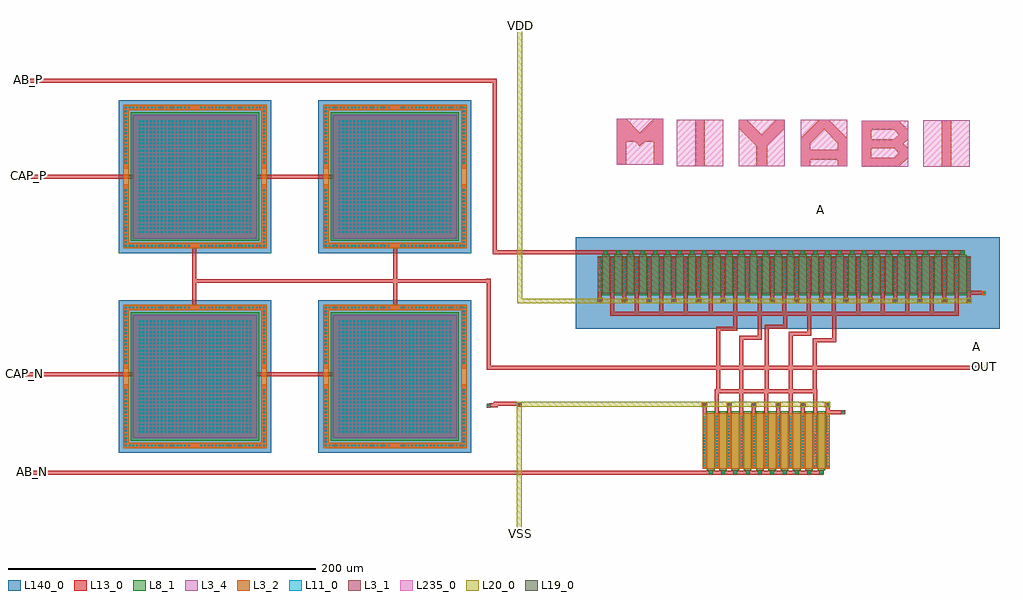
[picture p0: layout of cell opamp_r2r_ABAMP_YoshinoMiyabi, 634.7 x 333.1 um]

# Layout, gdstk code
from math import pi, radians
import gdstk
lib = gdstk.Library(unit=1e-6, precision=1e-07)
def R(c, l, rs):  # rectangles x0, y0, x1, y1
    for r in rs: c.add(gdstk.rectangle(r[:2], r[2:], *l))
def A(c, l, x, y, w, h, nx, ny, dx, dy):  # array of equal rectangles
    R(c, l, [(x+i*dx, y+j*dy, x+i*dx+w, y+j*dy+h) for i in range(nx) for j in range(ny)])
def P(c, l, *ps):  # polygons
    for p in ps: c.add(gdstk.Polygon(p, *l))
L3_1 = (3, 1)
L3_2 = (3, 2)
L3_4 = (3, 4)
L8_1 = (8, 1)
L11_0 = (11, 0)
L13_0 = (13, 0)
L19_0 = (19, 0)
L20_0 = (20, 0)
L140_0 = (140, 0)
L235_0 = (235, 0)

fet_p = lib.new_cell('fet_p')
R(fet_p, L3_1, [(-121.3,-12,121.3,12)])
A(fet_p, L11_0, -120.5, -10.5, 1, 1, 31, 11, 8, 2)
A(fet_p, L13_0, -121.3, -11.3, 2.6, 22.6, 31, 1, 8, 0)
fet_p.add(gdstk.FlexPath([(4,-13.2),(4,13.2)], 5, ends="flush", simple_path=True, layer=8, datatype=1))  # L8_1
fet_p.add(gdstk.FlexPath([(-4,-13.2),(-4,13.2)], 5, ends="flush", simple_path=True, layer=8, datatype=1))  # L8_1
fet_p.add(gdstk.FlexPath([(12,-13.2),(12,13.2)], 5, ends="flush", simple_path=True, layer=8, datatype=1))  # L8_1
fet_p.add(gdstk.FlexPath([(-12,-13.2),(-12,13.2)], 5, ends="flush", simple_path=True, layer=8, datatype=1))  # L8_1
fet_p.add(gdstk.FlexPath([(20,-13.2),(20,13.2)], 5, ends="flush", simple_path=True, layer=8, datatype=1))  # L8_1
fet_p.add(gdstk.FlexPath([(-20,-13.2),(-20,13.2)], 5, ends="flush", simple_path=True, layer=8, datatype=1))  # L8_1
fet_p.add(gdstk.FlexPath([(28,-13.2),(28,13.2)], 5, ends="flush", simple_path=True, layer=8, datatype=1))  # L8_1
fet_p.add(gdstk.FlexPath([(-28,-13.2),(-28,13.2)], 5, ends="flush", simple_path=True, layer=8, datatype=1))  # L8_1
fet_p.add(gdstk.FlexPath([(36,-13.2),(36,13.2)], 5, ends="flush", simple_path=True, layer=8, datatype=1))  # L8_1
fet_p.add(gdstk.FlexPath([(-36,-13.2),(-36,13.2)], 5, ends="flush", simple_path=True, layer=8, datatype=1))  # L8_1
fet_p.add(gdstk.FlexPath([(44,-13.2),(44,13.2)], 5, ends="flush", simple_path=True, layer=8, datatype=1))  # L8_1
fet_p.add(gdstk.FlexPath([(-44,-13.2),(-44,13.2)], 5, ends="flush", simple_path=True, layer=8, datatype=1))  # L8_1
fet_p.add(gdstk.FlexPath([(52,-13.2),(52,13.2)], 5, ends="flush", simple_path=True, layer=8, datatype=1))  # L8_1
fet_p.add(gdstk.FlexPath([(-52,-13.2),(-52,13.2)], 5, ends="flush", simple_path=True, layer=8, datatype=1))  # L8_1
fet_p.add(gdstk.FlexPath([(60,-13.2),(60,13.2)], 5, ends="flush", simple_path=True, layer=8, datatype=1))  # L8_1
fet_p.add(gdstk.FlexPath([(-60,-13.2),(-60,13.2)], 5, ends="flush", simple_path=True, layer=8, datatype=1))  # L8_1
fet_p.add(gdstk.FlexPath([(68,-13.2),(68,13.2)], 5, ends="flush", simple_path=True, layer=8, datatype=1))  # L8_1
fet_p.add(gdstk.FlexPath([(-68,-13.2),(-68,13.2)], 5, ends="flush", simple_path=True, layer=8, datatype=1))  # L8_1
fet_p.add(gdstk.FlexPath([(76,-13.2),(76,13.2)], 5, ends="flush", simple_path=True, layer=8, datatype=1))  # L8_1
fet_p.add(gdstk.FlexPath([(-76,-13.2),(-76,13.2)], 5, ends="flush", simple_path=True, layer=8, datatype=1))  # L8_1
fet_p.add(gdstk.FlexPath([(84,-13.2),(84,13.2)], 5, ends="flush", simple_path=True, layer=8, datatype=1))  # L8_1
fet_p.add(gdstk.FlexPath([(-84,-13.2),(-84,13.2)], 5, ends="flush", simple_path=True, layer=8, datatype=1))  # L8_1
fet_p.add(gdstk.FlexPath([(92,-13.2),(92,13.2)], 5, ends="flush", simple_path=True, layer=8, datatype=1))  # L8_1
fet_p.add(gdstk.FlexPath([(-92,-13.2),(-92,13.2)], 5, ends="flush", simple_path=True, layer=8, datatype=1))  # L8_1
fet_p.add(gdstk.FlexPath([(100,-13.2),(100,13.2)], 5, ends="flush", simple_path=True, layer=8, datatype=1))  # L8_1
fet_p.add(gdstk.FlexPath([(-100,-13.2),(-100,13.2)], 5, ends="flush", simple_path=True, layer=8, datatype=1))  # L8_1
fet_p.add(gdstk.FlexPath([(108,-13.2),(108,13.2)], 5, ends="flush", simple_path=True, layer=8, datatype=1))  # L8_1
fet_p.add(gdstk.FlexPath([(-108,-13.2),(-108,13.2)], 5, ends="flush", simple_path=True, layer=8, datatype=1))  # L8_1
fet_p.add(gdstk.FlexPath([(116,-13.2),(116,13.2)], 5, ends="flush", simple_path=True, layer=8, datatype=1))  # L8_1
fet_p.add(gdstk.FlexPath([(-116,-13.2),(-116,13.2)], 5, ends="flush", simple_path=True, layer=8, datatype=1))  # L8_1

fet_n = lib.new_cell('fet_n')
R(fet_n, L3_2, [(-41.3,-18,41.3,18)])
A(fet_n, L11_0, -40.5, -16.5, 1, 1, 11, 17, 8, 2)
A(fet_n, L13_0, -41.3, -17.3, 2.6, 34.6, 11, 1, 8, 0)
fet_n.add(gdstk.FlexPath([(4,-19.2),(4,19.2)], 5, ends="flush", simple_path=True, layer=8, datatype=1))  # L8_1
fet_n.add(gdstk.FlexPath([(-4,-19.2),(-4,19.2)], 5, ends="flush", simple_path=True, layer=8, datatype=1))  # L8_1
fet_n.add(gdstk.FlexPath([(12,-19.2),(12,19.2)], 5, ends="flush", simple_path=True, layer=8, datatype=1))  # L8_1
fet_n.add(gdstk.FlexPath([(-12,-19.2),(-12,19.2)], 5, ends="flush", simple_path=True, layer=8, datatype=1))  # L8_1
fet_n.add(gdstk.FlexPath([(20,-19.2),(20,19.2)], 5, ends="flush", simple_path=True, layer=8, datatype=1))  # L8_1
fet_n.add(gdstk.FlexPath([(-20,-19.2),(-20,19.2)], 5, ends="flush", simple_path=True, layer=8, datatype=1))  # L8_1
fet_n.add(gdstk.FlexPath([(28,-19.2),(28,19.2)], 5, ends="flush", simple_path=True, layer=8, datatype=1))  # L8_1
fet_n.add(gdstk.FlexPath([(-28,-19.2),(-28,19.2)], 5, ends="flush", simple_path=True, layer=8, datatype=1))  # L8_1
fet_n.add(gdstk.FlexPath([(36,-19.2),(36,19.2)], 5, ends="flush", simple_path=True, layer=8, datatype=1))  # L8_1
fet_n.add(gdstk.FlexPath([(-36,-19.2),(-36,19.2)], 5, ends="flush", simple_path=True, layer=8, datatype=1))  # L8_1

cont_g = lib.new_cell('cont_g')
R(cont_g, L8_1, [(-1.3,-1.3,1.3,1.3)])
R(cont_g, L11_0, [(-0.5,-0.5,0.5,0.5)])
R(cont_g, L13_0, [(-1.3,-1.3,1.3,1.3)])

via_1 = lib.new_cell('via_1')
R(via_1, L13_0, [(-1.7,-1.7,1.7,1.7)])
R(via_1, L19_0, [(-0.7,-0.7,0.7,0.7)])
R(via_1, L20_0, [(-1.7,-1.7,1.7,1.7)])

cont_p = lib.new_cell('cont_p')
R(cont_p, L3_1, [(-1.3,-1.3,1.3,1.3)])
R(cont_p, L11_0, [(-0.5,-0.5,0.5,0.5)])
R(cont_p, L13_0, [(-1.3,-1.3,1.3,1.3)])

cont_n = lib.new_cell('cont_n')
R(cont_n, L3_2, [(-1.3,-1.3,1.3,1.3)])
R(cont_n, L11_0, [(-0.5,-0.5,0.5,0.5)])
R(cont_n, L13_0, [(-1.3,-1.3,1.3,1.3)])

moscap = lib.new_cell('moscap')
P(moscap, L3_2, [(-46.7,-46.7),(-46.7,43.1),(-43.1,43.1),(-43.1,-43.1),(43.1,-43.1),(43.1,43.1),(-46.7,43.1),(-46.7,46.7),(46.7,46.7),(46.7,-46.7)])
R(moscap, L3_4, [(-40.3,-40.3,40.3,40.3)])
R(moscap, L8_1, [(-41.7,-41.7,41.7,41.7)])
A(moscap, L11_0, -45.5, -45.5, 1.2, 1.2, 1, 18, 0, 2.4)
A(moscap, L11_0, -45.5, -45.5, 1.2, 1.2, 16, 2, 2.4, 89.8)
A(moscap, L11_0, 8.3, -45.5, 1.2, 1.2, 16, 2, 2.4, 89.8)
A(moscap, L11_0, 44.3, -45.5, 1.2, 1.2, 1, 18, 0, 2.4)
A(moscap, L11_0, -36.6, -36.6, 1.2, 1.2, 31, 31, 2.4, 2.4)
A(moscap, L11_0, -45.5, 3.5, 1.2, 1.2, 1, 18, 0, 2.4)
A(moscap, L11_0, 44.3, 3.5, 1.2, 1.2, 1, 18, 0, 2.4)
R(moscap, L13_0, [(-40.3,-40.3,40.3,40.3)])
P(moscap, L13_0, [(-46.7,-46.7),(-46.7,46.7),(-5,46.7),(-5,43.1),(-43.1,43.1),(-43.1,-43.1),(-5,-43.1),(-5,-46.7)],
  [(5,-46.7),(5,-43.1),(43.1,-43.1),(43.1,43.1),(5,43.1),(5,46.7),(46.7,46.7),(46.7,-46.7)])
R(moscap, L140_0, [(-49.7,-49.7,49.7,49.7)])

c_m = lib.new_cell('M')
P(c_m, L13_0, [(0,0),(0,10),(2,10),(5,7),(8,10),(10,10),(10,0),(8,0),(8,5),(6,5),(5,4),(4,5),(2,5),(2,0)])
R(c_m, L235_0, [(0,0,10,10)])

c_i = lib.new_cell('I')
R(c_i, L13_0, [(4,0,6,10)])
R(c_i, L235_0, [(0,0,10,10)])

c_y = lib.new_cell('Y')
P(c_y, L13_0, [(3.8,0),(3.8,4.4),(0,8.2),(0,10),(1.8,10),(5,6.8),(8.2,10),(10,10),(10,8.2),(6.2,4.4),(6.2,0)])
R(c_y, L235_0, [(0,0,10,10)])

c_a = lib.new_cell('A')
P(c_a, L13_0, [(0,0),(0,6),(4,10),(6,10),(10,6),(10,0),(8,0),(8,5),(5,8),(2,5),(2,3.5),(8,3.5),(8,1.4),(2,1.4),(2,0)])
R(c_a, L235_0, [(0,0,10,10)])

c_b = lib.new_cell('B')
P(c_b, L13_0, [(0,0),(0,10),(8,10),(10,8),(10,6),(9,5),(10,4),(10,2),(8,0),(2,0),(2,2),(7,2),(8,3),(7,4),(2,4),(2,6),(7,6),(8,7),(7,8),(2,8),(2,0)])
R(c_b, L235_0, [(0,0,10,10)])

opamp_r2r_abamp_yoshinom = lib.new_cell('opamp_r2r_ABAMP_YoshinoMiyabi')
R(opamp_r2r_abamp_yoshinom, L140_0, [(6703.8,-2975.8,6979.4,-2916.5)])
opamp_r2r_abamp_yoshinom.add(gdstk.FlexPath([(6719.5,-2952),(6719.5,-2956.4),(6719.5,-2956.4),(6719.5,-2956.4),(6719.5,-2956.4)], 2.6, ends="flush", simple_path=True, layer=13, datatype=0))  # L13_0
opamp_r2r_abamp_yoshinom.add(gdstk.FlexPath([(6735.5,-2952),(6735.5,-2956.4),(6735.5,-2956.4),(6735.5,-2956.4),(6735.5,-2956.4)], 2.6, ends="flush", simple_path=True, layer=13, datatype=0))  # L13_0
opamp_r2r_abamp_yoshinom.add(gdstk.FlexPath([(6751.5,-2952),(6751.5,-2956.4),(6751.5,-2956.4),(6751.5,-2956.4),(6751.5,-2956.4)], 2.6, ends="flush", simple_path=True, layer=13, datatype=0))  # L13_0
opamp_r2r_abamp_yoshinom.add(gdstk.FlexPath([(6767.5,-2952),(6767.5,-2956.4),(6767.5,-2956.4),(6767.5,-2956.4),(6767.5,-2956.4)], 2.6, ends="flush", simple_path=True, layer=13, datatype=0))  # L13_0
opamp_r2r_abamp_yoshinom.add(gdstk.FlexPath([(6783.5,-2952),(6783.5,-2956.4),(6783.5,-2956.4),(6783.5,-2956.4),(6783.5,-2956.4)], 2.6, ends="flush", simple_path=True, layer=13, datatype=0))  # L13_0
opamp_r2r_abamp_yoshinom.add(gdstk.FlexPath([(6799.5,-2952),(6799.5,-2956.4),(6799.5,-2956.4),(6799.5,-2956.4),(6799.5,-2956.4)], 2.6, ends="flush", simple_path=True, layer=13, datatype=0))  # L13_0
opamp_r2r_abamp_yoshinom.add(gdstk.FlexPath([(6815.5,-2952),(6815.5,-2956.4),(6815.5,-2956.4),(6815.5,-2956.4),(6815.5,-2956.4)], 2.6, ends="flush", simple_path=True, layer=13, datatype=0))  # L13_0
opamp_r2r_abamp_yoshinom.add(gdstk.FlexPath([(6831.5,-2952),(6831.5,-2956.4),(6831.5,-2956.4),(6831.5,-2956.4),(6831.5,-2956.4)], 2.6, ends="flush", simple_path=True, layer=13, datatype=0))  # L13_0
opamp_r2r_abamp_yoshinom.add(gdstk.FlexPath([(6847.5,-2952),(6847.5,-2956.4),(6847.5,-2956.4),(6847.5,-2956.4),(6847.5,-2956.4)], 2.6, ends="flush", simple_path=True, layer=13, datatype=0))  # L13_0
opamp_r2r_abamp_yoshinom.add(gdstk.FlexPath([(6863.5,-2952),(6863.5,-2956.4),(6863.5,-2956.4),(6863.5,-2956.4),(6863.5,-2956.4)], 2.6, ends="flush", simple_path=True, layer=13, datatype=0))  # L13_0
opamp_r2r_abamp_yoshinom.add(gdstk.FlexPath([(6879.5,-2952),(6879.5,-2956.4),(6879.5,-2956.4),(6879.5,-2956.4),(6879.5,-2956.4)], 2.6, ends="flush", simple_path=True, layer=13, datatype=0))  # L13_0
opamp_r2r_abamp_yoshinom.add(gdstk.FlexPath([(6895.5,-2952),(6895.5,-2956.4),(6895.5,-2956.4),(6895.5,-2956.4),(6895.5,-2956.4)], 2.6, ends="flush", simple_path=True, layer=13, datatype=0))  # L13_0
opamp_r2r_abamp_yoshinom.add(gdstk.FlexPath([(6911.5,-2952),(6911.5,-2956.4),(6911.5,-2956.4),(6911.5,-2956.4),(6911.5,-2956.4)], 2.6, ends="flush", simple_path=True, layer=13, datatype=0))  # L13_0
opamp_r2r_abamp_yoshinom.add(gdstk.FlexPath([(6927.5,-2952),(6927.5,-2956.4),(6927.5,-2956.4),(6927.5,-2956.4),(6927.5,-2956.4)], 2.6, ends="flush", simple_path=True, layer=13, datatype=0))  # L13_0
opamp_r2r_abamp_yoshinom.add(gdstk.FlexPath([(6943.5,-2952),(6943.5,-2956.4),(6943.5,-2956.4),(6943.5,-2956.4),(6943.5,-2956.4)], 2.6, ends="flush", simple_path=True, layer=13, datatype=0))  # L13_0
opamp_r2r_abamp_yoshinom.add(gdstk.FlexPath([(6959.5,-2952),(6959.5,-2956.4),(6959.5,-2956.4),(6959.5,-2956.4),(6959.5,-2956.4)], 2.6, ends="flush", simple_path=True, layer=13, datatype=0))  # L13_0
opamp_r2r_abamp_yoshinom.add(gdstk.FlexPath([(6787.6,-3031.9),(6787.6,-3026.3)], 2.6, ends="flush", simple_path=True, layer=13, datatype=0))  # L13_0
opamp_r2r_abamp_yoshinom.add(gdstk.FlexPath([(6803.6,-3031.9),(6803.6,-3026.3)], 2.6, ends="flush", simple_path=True, layer=13, datatype=0))  # L13_0
opamp_r2r_abamp_yoshinom.add(gdstk.FlexPath([(6819.6,-3031.9),(6819.6,-3026.3)], 2.6, ends="flush", simple_path=True, layer=13, datatype=0))  # L13_0
opamp_r2r_abamp_yoshinom.add(gdstk.FlexPath([(6835.6,-3031.9),(6835.6,-3026.3)], 2.6, ends="flush", simple_path=True, layer=13, datatype=0))  # L13_0
opamp_r2r_abamp_yoshinom.add(gdstk.FlexPath([(6851.6,-3031.9),(6851.6,-3026.3)], 2.6, ends="flush", simple_path=True, layer=13, datatype=0))  # L13_0
opamp_r2r_abamp_yoshinom.add(gdstk.FlexPath([(6867.6,-3031.9),(6867.6,-3026.3)], 2.6, ends="flush", simple_path=True, layer=13, datatype=0))  # L13_0
opamp_r2r_abamp_yoshinom.add(gdstk.FlexPath([(6876.8,-3030.1),(6868.7,-3030.1)], 2.6, ends="flush", simple_path=True, layer=13, datatype=0))  # L13_0
opamp_r2r_abamp_yoshinom.add(gdstk.FlexPath([(6727.5,-2951.9),(6727.5,-2965.1),(6727.5,-2965.1),(6727.5,-2967.5)], 2.6, ends="flush", simple_path=True, layer=13, datatype=0))  # L13_0
opamp_r2r_abamp_yoshinom.add(gdstk.FlexPath([(6743.5,-2951.9),(6743.5,-2965.1),(6743.5,-2965.1),(6743.5,-2967.5)], 2.6, ends="flush", simple_path=True, layer=13, datatype=0))  # L13_0
opamp_r2r_abamp_yoshinom.add(gdstk.FlexPath([(6759.5,-2951.9),(6759.5,-2965.1),(6759.5,-2965.1),(6759.5,-2967.5)], 2.6, ends="flush", simple_path=True, layer=13, datatype=0))  # L13_0
opamp_r2r_abamp_yoshinom.add(gdstk.FlexPath([(6775.5,-2951.9),(6775.5,-2965.1),(6775.5,-2965.1),(6775.5,-2967.5)], 2.6, ends="flush", simple_path=True, layer=13, datatype=0))  # L13_0
opamp_r2r_abamp_yoshinom.add(gdstk.FlexPath([(6791.5,-2951.9),(6791.5,-2965.1),(6791.5,-2965.1),(6791.5,-2967.5)], 2.6, ends="flush", simple_path=True, layer=13, datatype=0))  # L13_0
opamp_r2r_abamp_yoshinom.add(gdstk.FlexPath([(6807.5,-2951.9),(6807.5,-2965.1),(6807.5,-2965.1),(6807.5,-2967.5)], 2.6, ends="flush", simple_path=True, layer=13, datatype=0))  # L13_0
opamp_r2r_abamp_yoshinom.add(gdstk.FlexPath([(6823.5,-2951.9),(6823.5,-2965.1),(6823.5,-2965.1),(6823.5,-2967.5)], 2.6, ends="flush", simple_path=True, layer=13, datatype=0))  # L13_0
opamp_r2r_abamp_yoshinom.add(gdstk.FlexPath([(6839.5,-2951.9),(6839.5,-2965.1),(6839.5,-2965.1),(6839.5,-2967.5)], 2.6, ends="flush", simple_path=True, layer=13, datatype=0))  # L13_0
opamp_r2r_abamp_yoshinom.add(gdstk.FlexPath([(6855.5,-2951.9),(6855.5,-2965.1),(6855.5,-2965.1),(6855.5,-2967.5)], 2.6, ends="flush", simple_path=True, layer=13, datatype=0))  # L13_0
opamp_r2r_abamp_yoshinom.add(gdstk.FlexPath([(6871.5,-2951.9),(6871.5,-2965.1),(6871.5,-2965.1),(6871.5,-2967.5)], 2.6, ends="flush", simple_path=True, layer=13, datatype=0))  # L13_0
opamp_r2r_abamp_yoshinom.add(gdstk.FlexPath([(6887.5,-2951.9),(6887.5,-2965.1),(6887.5,-2965.1),(6887.5,-2967.5)], 2.6, ends="flush", simple_path=True, layer=13, datatype=0))  # L13_0
opamp_r2r_abamp_yoshinom.add(gdstk.FlexPath([(6903.5,-2951.9),(6903.5,-2965.1),(6903.5,-2965.1),(6903.5,-2967.5)], 2.6, ends="flush", simple_path=True, layer=13, datatype=0))  # L13_0
opamp_r2r_abamp_yoshinom.add(gdstk.FlexPath([(6919.5,-2951.9),(6919.5,-2965.1),(6919.5,-2965.1),(6919.5,-2967.5)], 2.6, ends="flush", simple_path=True, layer=13, datatype=0))  # L13_0
opamp_r2r_abamp_yoshinom.add(gdstk.FlexPath([(6935.5,-2951.9),(6935.5,-2965.1),(6935.5,-2965.1),(6935.5,-2967.5)], 2.6, ends="flush", simple_path=True, layer=13, datatype=0))  # L13_0
opamp_r2r_abamp_yoshinom.add(gdstk.FlexPath([(6951.5,-2951.9),(6951.5,-2965.1),(6951.5,-2965.1),(6951.5,-2967.5)], 2.6, ends="flush", simple_path=True, layer=13, datatype=0))  # L13_0
opamp_r2r_abamp_yoshinom.add(gdstk.FlexPath([(6795.6,-3031.9),(6795.6,-3015.6)], 2.6, ends="flush", simple_path=True, layer=13, datatype=0))  # L13_0
opamp_r2r_abamp_yoshinom.add(gdstk.FlexPath([(6811.6,-3031.9),(6811.6,-3015.6)], 2.6, ends="flush", simple_path=True, layer=13, datatype=0))  # L13_0
opamp_r2r_abamp_yoshinom.add(gdstk.FlexPath([(6827.6,-3031.9),(6827.6,-3015.6)], 2.6, ends="flush", simple_path=True, layer=13, datatype=0))  # L13_0
opamp_r2r_abamp_yoshinom.add(gdstk.FlexPath([(6843.6,-3031.9),(6843.6,-3015.6)], 2.6, ends="flush", simple_path=True, layer=13, datatype=0))  # L13_0
opamp_r2r_abamp_yoshinom.add(gdstk.FlexPath([(6859.6,-3031.9),(6859.6,-3015.6)], 2.6, ends="flush", simple_path=True, layer=13, datatype=0))  # L13_0
opamp_r2r_abamp_yoshinom.add(gdstk.FlexPath([(6968.2,-2952.7),(6960.3,-2952.7)], 2.6, ends="flush", simple_path=True, layer=13, datatype=0))  # L13_0
opamp_r2r_abamp_yoshinom.add(gdstk.FlexPath([(6956.7,-2926.3),(6651.2,-2926.3),(6651.2,-2814.6),(6348.9,-2814.6),(6348.9,-2814.6),(6347.4,-2814.6)], 2.6, ends="flush", simple_path=True, layer=13, datatype=0))  # L13_0
opamp_r2r_abamp_yoshinom.add(gdstk.FlexPath([(6952.8,-2966.2),(6726.2,-2966.2)], 2.6, ends="flush", simple_path=True, layer=13, datatype=0))  # L13_0
opamp_r2r_abamp_yoshinom.add(gdstk.FlexPath([(6860.9,-3016.5),(6794.4,-3016.5)], 2.6, ends="flush", simple_path=True, layer=13, datatype=0))  # L13_0
opamp_r2r_abamp_yoshinom.add(gdstk.FlexPath([(6865,-3069.6),(6350,-3069.6)], 2.6, ends="flush", simple_path=True, layer=13, datatype=0))  # L13_0
opamp_r2r_abamp_yoshinom.add(gdstk.FlexPath([(6859.2,-3017.6),(6859.2,-2983.4),(6871.8,-2983.4),(6871.8,-2967)], 2.6, ends="flush", simple_path=True, layer=13, datatype=0))  # L13_0
opamp_r2r_abamp_yoshinom.add(gdstk.FlexPath([(6843.6,-3017.3),(6843.6,-2979.2),(6855.7,-2979.2),(6855.7,-2966.7)], 2.6, ends="flush", simple_path=True, layer=13, datatype=0))  # L13_0
opamp_r2r_abamp_yoshinom.add(gdstk.FlexPath([(6828.1,-3016.4),(6828.1,-2974.7),(6840.1,-2974.7),(6840.1,-2966.3)], 2.6, ends="flush", simple_path=True, layer=13, datatype=0))  # L13_0
opamp_r2r_abamp_yoshinom.add(gdstk.FlexPath([(6811.5,-3016.4),(6811.5,-2981.9),(6823.4,-2981.9),(6823.4,-2966.7)], 2.6, ends="flush", simple_path=True, layer=13, datatype=0))  # L13_0
opamp_r2r_abamp_yoshinom.add(gdstk.FlexPath([(6796.6,-3016.3),(6796.6,-2976),(6807.6,-2976),(6807.6,-2966.5)], 2.6, ends="flush", simple_path=True, layer=13, datatype=0))  # L13_0
opamp_r2r_abamp_yoshinom.add(gdstk.FlexPath([(6647.1,-2943.5),(6647.1,-3001.2),(6970.3,-3001.2)], 2.6, ends="flush", simple_path=True, layer=13, datatype=0))  # L13_0
opamp_r2r_abamp_yoshinom.add(gdstk.FlexPath([(6553.1,-2877),(6348.2,-2877),(6348.2,-2877.7)], 2.6, ends="flush", simple_path=True, layer=13, datatype=0))  # L13_0
opamp_r2r_abamp_yoshinom.add(gdstk.FlexPath([(6568.1,-3005.7),(6344.7,-3005.7)], 2.6, ends="flush", simple_path=True, layer=13, datatype=0))  # L13_0
opamp_r2r_abamp_yoshinom.add(gdstk.FlexPath([(6455.9,-2922.5),(6455.9,-2962.5)], 2.6, ends="flush", simple_path=True, layer=13, datatype=0))  # L13_0
opamp_r2r_abamp_yoshinom.add(gdstk.FlexPath([(6586.4,-2921.7),(6586.4,-2961.5)], 2.6, ends="flush", simple_path=True, layer=13, datatype=0))  # L13_0
opamp_r2r_abamp_yoshinom.add(gdstk.FlexPath([(6648.3,-2944.9),(6454.9,-2944.9)], 2.6, ends="flush", simple_path=True, layer=13, datatype=0))  # L13_0
opamp_r2r_abamp_yoshinom.add(gdstk.FlexPath([(6666,-3024.8),(6651.7,-3024.8),(6651.7,-3025.7),(6647.7,-3025.7)], 2.6, ends="flush", simple_path=True, layer=13, datatype=0))  # L13_0
opamp_r2r_abamp_yoshinom.add(gdstk.FlexPath([(6960.7,-2957.9),(6667.4,-2957.9),(6667.4,-2779.3),(6669,-2779.3)], 3.2, ends="flush", simple_path=True, layer=20, datatype=0))  # L20_0
opamp_r2r_abamp_yoshinom.add(gdstk.FlexPath([(6869.3,-3025),(6667,-3025),(6667,-3110.8)], 3.2, ends="flush", simple_path=True, layer=20, datatype=0))  # L20_0
opamp_r2r_abamp_yoshinom.add(gdstk.Reference(fet_p, (6839.5,-2940.9)))
opamp_r2r_abamp_yoshinom.add(gdstk.Reference(fet_n, (6827.6,-3048.9)))
opamp_r2r_abamp_yoshinom.add(gdstk.Reference(cont_g, (6723.5,-2926.4), rotation=pi/2))
opamp_r2r_abamp_yoshinom.add(gdstk.Reference(cont_g, (6731.5,-2926.4), rotation=pi/2))
opamp_r2r_abamp_yoshinom.add(gdstk.Reference(cont_g, (6739.5,-2926.4), rotation=pi/2))
opamp_r2r_abamp_yoshinom.add(gdstk.Reference(cont_g, (6747.5,-2926.4), rotation=pi/2))
opamp_r2r_abamp_yoshinom.add(gdstk.Reference(cont_g, (6755.5,-2926.4), rotation=pi/2))
opamp_r2r_abamp_yoshinom.add(gdstk.Reference(cont_g, (6763.5,-2926.4), rotation=pi/2))
opamp_r2r_abamp_yoshinom.add(gdstk.Reference(cont_g, (6771.5,-2926.4), rotation=pi/2))
opamp_r2r_abamp_yoshinom.add(gdstk.Reference(cont_g, (6779.5,-2926.4), rotation=pi/2))
opamp_r2r_abamp_yoshinom.add(gdstk.Reference(cont_g, (6787.5,-2926.4), rotation=pi/2))
opamp_r2r_abamp_yoshinom.add(gdstk.Reference(cont_g, (6795.5,-2926.4), rotation=pi/2))
opamp_r2r_abamp_yoshinom.add(gdstk.Reference(cont_g, (6803.5,-2926.4), rotation=pi/2))
opamp_r2r_abamp_yoshinom.add(gdstk.Reference(cont_g, (6811.5,-2926.4), rotation=pi/2))
opamp_r2r_abamp_yoshinom.add(gdstk.Reference(cont_g, (6819.5,-2926.4), rotation=pi/2))
opamp_r2r_abamp_yoshinom.add(gdstk.Reference(cont_g, (6827.5,-2926.4), rotation=pi/2))
opamp_r2r_abamp_yoshinom.add(gdstk.Reference(cont_g, (6835.5,-2926.4), rotation=pi/2))
opamp_r2r_abamp_yoshinom.add(gdstk.Reference(cont_g, (6843.5,-2926.4), rotation=pi/2))
opamp_r2r_abamp_yoshinom.add(gdstk.Reference(cont_g, (6851.5,-2926.4), rotation=pi/2))
opamp_r2r_abamp_yoshinom.add(gdstk.Reference(cont_g, (6859.5,-2926.4), rotation=pi/2))
opamp_r2r_abamp_yoshinom.add(gdstk.Reference(cont_g, (6867.5,-2926.4), rotation=pi/2))
opamp_r2r_abamp_yoshinom.add(gdstk.Reference(cont_g, (6875.5,-2926.4), rotation=pi/2))
opamp_r2r_abamp_yoshinom.add(gdstk.Reference(cont_g, (6883.5,-2926.4), rotation=pi/2))
opamp_r2r_abamp_yoshinom.add(gdstk.Reference(cont_g, (6891.5,-2926.4), rotation=pi/2))
opamp_r2r_abamp_yoshinom.add(gdstk.Reference(cont_g, (6899.5,-2926.4), rotation=pi/2))
opamp_r2r_abamp_yoshinom.add(gdstk.Reference(cont_g, (6907.5,-2926.4), rotation=pi/2))
opamp_r2r_abamp_yoshinom.add(gdstk.Reference(cont_g, (6915.5,-2926.4), rotation=pi/2))
opamp_r2r_abamp_yoshinom.add(gdstk.Reference(cont_g, (6923.5,-2926.4), rotation=pi/2))
opamp_r2r_abamp_yoshinom.add(gdstk.Reference(cont_g, (6931.5,-2926.4), rotation=pi/2))
opamp_r2r_abamp_yoshinom.add(gdstk.Reference(cont_g, (6939.5,-2926.4), rotation=pi/2))
opamp_r2r_abamp_yoshinom.add(gdstk.Reference(cont_g, (6947.5,-2926.4), rotation=pi/2))
opamp_r2r_abamp_yoshinom.add(gdstk.Reference(cont_g, (6955.5,-2926.4), rotation=pi/2))
opamp_r2r_abamp_yoshinom.add(gdstk.Reference(via_1, (6719.6,-2957.6), rotation=pi/2))
opamp_r2r_abamp_yoshinom.add(gdstk.Reference(via_1, (6735.6,-2957.6), rotation=pi/2))
opamp_r2r_abamp_yoshinom.add(gdstk.Reference(via_1, (6751.6,-2957.6), rotation=pi/2))
opamp_r2r_abamp_yoshinom.add(gdstk.Reference(via_1, (6767.6,-2957.6), rotation=pi/2))
opamp_r2r_abamp_yoshinom.add(gdstk.Reference(via_1, (6783.6,-2957.6), rotation=pi/2))
opamp_r2r_abamp_yoshinom.add(gdstk.Reference(via_1, (6799.6,-2957.6), rotation=pi/2))
opamp_r2r_abamp_yoshinom.add(gdstk.Reference(via_1, (6815.6,-2957.6), rotation=pi/2))
opamp_r2r_abamp_yoshinom.add(gdstk.Reference(via_1, (6831.6,-2957.6), rotation=pi/2))
opamp_r2r_abamp_yoshinom.add(gdstk.Reference(via_1, (6847.6,-2957.6), rotation=pi/2))
opamp_r2r_abamp_yoshinom.add(gdstk.Reference(via_1, (6863.6,-2957.6), rotation=pi/2))
opamp_r2r_abamp_yoshinom.add(gdstk.Reference(via_1, (6879.6,-2957.6), rotation=pi/2))
opamp_r2r_abamp_yoshinom.add(gdstk.Reference(via_1, (6895.6,-2957.6), rotation=pi/2))
opamp_r2r_abamp_yoshinom.add(gdstk.Reference(via_1, (6911.6,-2957.6), rotation=pi/2))
opamp_r2r_abamp_yoshinom.add(gdstk.Reference(via_1, (6927.6,-2957.6), rotation=pi/2))
opamp_r2r_abamp_yoshinom.add(gdstk.Reference(via_1, (6943.6,-2957.6), rotation=pi/2))
opamp_r2r_abamp_yoshinom.add(gdstk.Reference(via_1, (6959.6,-2957.6), rotation=pi/2))
opamp_r2r_abamp_yoshinom.add(gdstk.Reference(via_1, (6787.6,-3025.2), rotation=pi/2))
opamp_r2r_abamp_yoshinom.add(gdstk.Reference(via_1, (6803.6,-3025.2), rotation=pi/2))
opamp_r2r_abamp_yoshinom.add(gdstk.Reference(via_1, (6819.6,-3025.2), rotation=pi/2))
opamp_r2r_abamp_yoshinom.add(gdstk.Reference(via_1, (6835.6,-3025.2), rotation=pi/2))
opamp_r2r_abamp_yoshinom.add(gdstk.Reference(via_1, (6851.6,-3025.2), rotation=pi/2))
opamp_r2r_abamp_yoshinom.add(gdstk.Reference(via_1, (6867.6,-3025.2), rotation=pi/2))
opamp_r2r_abamp_yoshinom.add(gdstk.Reference(cont_g, (6791.6,-3069.4), rotation=pi/2))
opamp_r2r_abamp_yoshinom.add(gdstk.Reference(cont_g, (6799.6,-3069.4), rotation=pi/2))
opamp_r2r_abamp_yoshinom.add(gdstk.Reference(cont_g, (6807.6,-3069.4), rotation=pi/2))
opamp_r2r_abamp_yoshinom.add(gdstk.Reference(cont_g, (6815.6,-3069.4), rotation=pi/2))
opamp_r2r_abamp_yoshinom.add(gdstk.Reference(cont_g, (6823.6,-3069.4), rotation=pi/2))
opamp_r2r_abamp_yoshinom.add(gdstk.Reference(cont_g, (6831.6,-3069.4), rotation=pi/2))
opamp_r2r_abamp_yoshinom.add(gdstk.Reference(cont_g, (6839.6,-3069.4), rotation=pi/2))
opamp_r2r_abamp_yoshinom.add(gdstk.Reference(cont_g, (6847.6,-3069.4), rotation=pi/2))
opamp_r2r_abamp_yoshinom.add(gdstk.Reference(cont_g, (6855.6,-3069.4), rotation=pi/2))
opamp_r2r_abamp_yoshinom.add(gdstk.Reference(cont_g, (6863.6,-3069.4), rotation=pi/2))
opamp_r2r_abamp_yoshinom.add(gdstk.Reference(cont_p, (6877.8,-3030.1), rotation=pi/2))
opamp_r2r_abamp_yoshinom.add(gdstk.Reference(cont_n, (6969.3,-2952.8), rotation=pi/2))
opamp_r2r_abamp_yoshinom.add(gdstk.Reference(moscap, (6586.2,-2877), rotation=pi/2))
opamp_r2r_abamp_yoshinom.add(gdstk.Reference(moscap, (6586.2,-2877), rotation=pi/2))
opamp_r2r_abamp_yoshinom.add(gdstk.Reference(moscap, (6456.2,-2877), rotation=pi/2))
opamp_r2r_abamp_yoshinom.add(gdstk.Reference(moscap, (6586.2,-3007), rotation=pi/2))
opamp_r2r_abamp_yoshinom.add(gdstk.Reference(moscap, (6456.2,-3007), rotation=pi/2))
opamp_r2r_abamp_yoshinom.add(gdstk.Reference(cont_p, (6647.1,-3025.9), rotation=pi/2))
opamp_r2r_abamp_yoshinom.add(gdstk.Reference(via_1, (6667.1,-3025.1), rotation=pi/2))
opamp_r2r_abamp_yoshinom.add(gdstk.Reference(c_m, (6730.6,-2869.4), magnification=3))
opamp_r2r_abamp_yoshinom.add(gdstk.Reference(c_i, (6769.6,-2870.2), magnification=3))
opamp_r2r_abamp_yoshinom.add(gdstk.Reference(c_y, (6809.7,-2870.2), magnification=3))
opamp_r2r_abamp_yoshinom.add(gdstk.Reference(c_a, (6850.3,-2870.2), magnification=3))
opamp_r2r_abamp_yoshinom.add(gdstk.Reference(c_b, (6889.9,-2870.7), magnification=3))
opamp_r2r_abamp_yoshinom.add(gdstk.Reference(c_i, (6929.9,-2870.5), magnification=3))
opamp_r2r_abamp_yoshinom.add(gdstk.Label('A', (6964.5,-2987.3), layer=13, texttype=0))
opamp_r2r_abamp_yoshinom.add(gdstk.Label('A', (6863.2,-2898.5), layer=48, texttype=0))
opamp_r2r_abamp_yoshinom.add(gdstk.Label('OUT', (6969.7,-3000.2), layer=48, texttype=0))
opamp_r2r_abamp_yoshinom.add(gdstk.Label('AB_P', (6348.2,-2813.9), layer=48, texttype=0))
opamp_r2r_abamp_yoshinom.add(gdstk.Label('CAP_P', (6348,-2876), layer=48, texttype=0))
opamp_r2r_abamp_yoshinom.add(gdstk.Label('CAP_N', (6345.6,-3005), layer=48, texttype=0))
opamp_r2r_abamp_yoshinom.add(gdstk.Label('AB_N', (6350.8,-3068.9), layer=48, texttype=0))
opamp_r2r_abamp_yoshinom.add(gdstk.Label('VSS', (6668.2,-3109), layer=49, texttype=0))
opamp_r2r_abamp_yoshinom.add(gdstk.Label('VDD', (6667.8,-2778.7), layer=49, texttype=0))

lib.write_gds('opamp_r2r_ABAMP_YoshinoMiyabi.gds')
